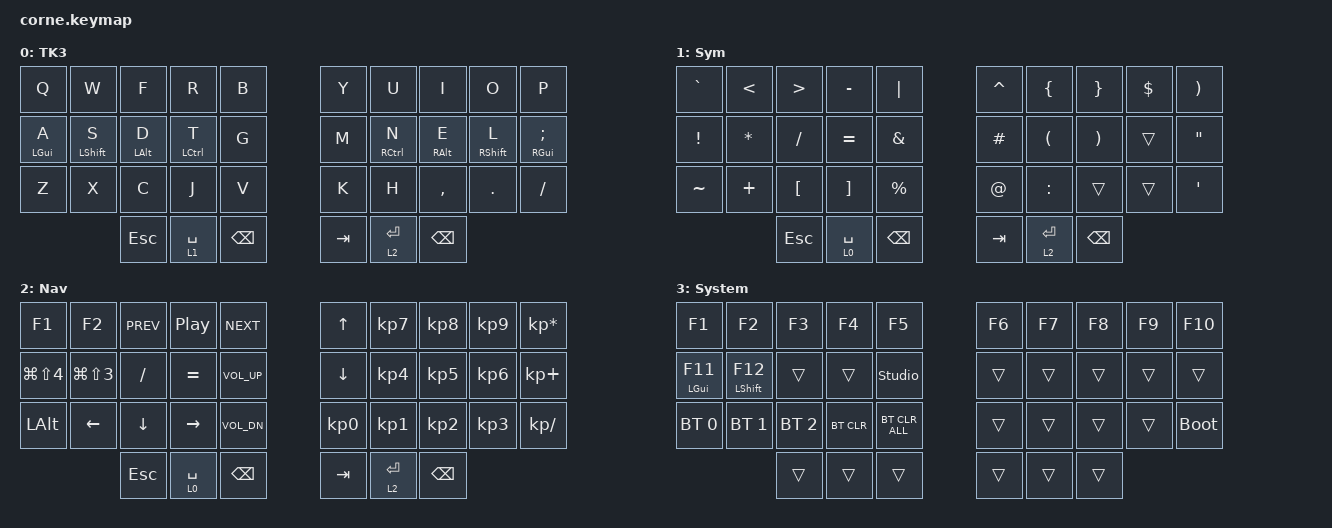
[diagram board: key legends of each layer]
#include <behaviors.dtsi>
#include <dt-bindings/zmk/bt.h>
#include <dt-bindings/zmk/keys.h>

#define DEF 0
#define SYM 1
#define NAV 2
#define ADJ 3

// short codes
#define ___      &trans      //  transparent

#define M_CAPW LG(LS(N3))         // Capture whole screen
#define M_CPYW LG(LS(LC(N3)))  // Copy whole screen
#define M_CAPP LG(LS(N4))         // Capture portion of screen
#define M_CPYP LG(LS(LC(N4)))  // Copy portion of screen

/ {
    chosen {
        zmk,physical-layout = &foostan_corne_5col_layout;
    };

    behaviors {
        hm: homerow_mods {
            compatible = "zmk,behavior-hold-tap";
            label = "HOMEROW_MODS";
            #binding-cells = <2>;
            tapping-term-ms = <200>;
            quick_tap_ms = <0>;
            flavor = "tap-preferred";
            bindings = <&kp>, <&kp>;

            quick-tap-ms = <180>;
            global-quick-tap;
        };

        para: para {
            compatible = "zmk,behavior-tap-dance";
            label = "PARA";
            #binding-cells = <0>;
            bindings = <&kp LEFT_PARENTHESIS>, <&kp RIGHT_PARENTHESIS>;
        };

        caps: caps {
            compatible = "zmk,behavior-caps-word";
            label = "CAPS";
            #binding-cells = <0>;
            continue-list = <MINUS BACKSPACE>;
        };

        paraless: paraless {
            compatible = "zmk,behavior-mod-morph";
            label = "PARALESS";
            bindings = <&kp LEFT_PARENTHESIS>, <&kp LESS_THAN>;

            #binding-cells = <0>;
            mods = <(MOD_LSFT)>;
        };

        paragreat: paragreat {
            compatible = "zmk,behavior-mod-morph";
            label = "PARAGREAT";
            bindings = <&kp RIGHT_PARENTHESIS>, <&kp GREATER_THAN>;

            #binding-cells = <0>;
            mods = <(MOD_LSFT)>;
        };
    };

    combos {
        compatible = "zmk,combos";

        escape {
            bindings = <&kp ESCAPE>;
            key-positions = <10 24>;
        };

        delete {
            bindings = <&kp DELETE>;
            key-positions = <12 18>;
        };

        perc {
            bindings = <&kp PERCENT>;
            key-positions = <4 14>;
        };

        equal {
            bindings = <&kp EQUAL>;
            key-positions = <23 13>;
        };

        dollar {
            bindings = <&kp DOLLAR>;
            key-positions = <3 13>;
        };

        pound {
            bindings = <&kp POUND>;
            key-positions = <2 12>;
        };

        at {
            bindings = <&kp AT>;
            key-positions = <1 11>;
        };

        backslash {
            bindings = <&kp BACKSLASH>;
            key-positions = <21 11>;
        };

        copy {
            bindings = <&kp K_COPY>;
            key-positions = <23 22>;
        };

        paste {
            bindings = <&kp K_PASTE>;
            key-positions = <21 22>;
        };

        star {
            bindings = <&kp STAR>;
            key-positions = <7 17>;
        };

        slash {
            bindings = <&kp SLASH>;
            key-positions = <27 17>;
        };

        plus {
            bindings = <&kp PLUS>;
            key-positions = <6 16>;
        };

        minus {
            bindings = <&kp KP_MINUS>;
            key-positions = <26 16>;
        };

        underscore {
            bindings = <&kp UNDER>;
            key-positions = <25 15>;
        };

        leftbrack {
            bindings = <&kp LEFT_BRACKET>;
            key-positions = <26 27>;
        };

        rightbrack {
            bindings = <&kp RIGHT_BRACKET>;
            key-positions = <28 27>;
        };

        para-less {
            bindings = <&paraless>;
            key-positions = <17 16>;
        };

        para-great {
            bindings = <&paragreat>;
            key-positions = <17 18>;
        };
    };

    //

    keymap {
        compatible = "zmk,keymap";

        DEF {
            display-name = "TK3";

            bindings = <
            //QWERTY
            // ╭─────────┬─────────┬─────────┬─────────┬─────────╮   ╭─────────┬─────────┬─────────┬─────────┬─────────╮
            // │    Q    │    W    │    E    │    R    │    T    │   │    Y    │    U    │    I    │    O    │    P    │
            //  &kp Q     &kp W     &kp E     &kp R     &kp T         &kp Y     &kp U     &kp I     &kp O     &kp P    
            // ├─────────┼─────────┼─────────┼─────────┼─────────┤   ├─────────┼─────────┼─────────┼─────────┼─────────┤
            // │    A    │    S    │    D    │    F    │    G    │   │    H    │    J    │    K    │    L    │    ;    │
            //  &hm LGUI A &hm LSHFT S &hm LALT D &hm LCTRL F &kp G   &kp H     &hm RCTRL J &hm RALT K &hm RSHFT L &hm RGUI SEMI 
            // ├─────────┼─────────┼─────────┼─────────┼─────────┤   ├─────────┼─────────┼─────────┼─────────┼─────────┤
            // │    Z    │    X    │    C    │    V    │    B    │   │    N    │    M    │   ,/;   │   ./:   │    /    │
            //  &kp Z     &kp X     &kp C     &kp V     &kp B         &kp N     &kp M     &kp COMMA &kp DOT   &kp FSLH 
            // ╰─────────┸─────────┼─────────┼─────────┼─────────┤   ├─────────┼─────────┼─────────┼─────────┸─────────╯
            //                     │    ⎋    │    ␣    │    ⌫    │   │    →    │    ↵    │    ⌫    │
            //                      &kp LGUI  &mo 1     &kp SPACE     &kp RET   &lt 2 TAB &kp BACKSPACE
            //                     ╰─────────────────────────────╯   ╰─────────────────────────────╯
            //  >;

            // TODO: Tarmak 3 update
            // TODO: Update visual representation
            // TODO: Use keyboard-drawer

            // ╭─────────┬─────────┬─────────┬─────────┬─────────╮   ╭─────────┬─────────┬─────────┬─────────┬─────────╮
            // │    Q    │    W    │    F    │    R    │    B    │   │    Y    │    U    │    I    │    O    │    P    │
            &kp Q     &kp W     &kp F     &kp R     &kp B         &kp Y     &kp U     &kp I     &kp O     &kp P
            // ├─────────┼─────────┼─────────┼─────────┼─────────┤   ├─────────┼─────────┼─────────┼─────────┼─────────┤
            // │    A    │    S    │    D    │    T    │    G    │   │    M    │    N    │    E    │    L    │    ;    │
            &hm LGUI A &hm LSHFT S &hm LALT D &hm LCTRL T &kp G   &kp M     &hm RCTRL N &hm RALT E &hm RSHFT L &hm RGUI SEMI
            // ├─────────┼─────────┼─────────┼─────────┼─────────┤   ├─────────┼─────────┼─────────┼─────────┼─────────┤
            // │    Z    │    X    │    C    │    J    │    V    │   │    K    │    H    │   ,/<   │   ./>   │    /:?    │
            &kp Z     &kp X     &kp C     &kp J     &kp V         &kp K     &kp H     &kp COMMA &kp DOT   &kp FSLH
            // ╰─────────┸─────────┼─────────┼─────────┼─────────┤   ├─────────┼─────────┼─────────┼─────────┸─────────╯
            //                     │    ⎋    │    ␣    │    ⌫    │   │    →    │    ↵    │    ⌫    │
                                    &kp ESC  &lt 1 SPACE &kp BACKSPACE &kp TAB   &lt 2 RET &kp BACKSPACE
            //                     ╰─────────────────────────────╯   ╰─────────────────────────────╯
            >;
        };

        SYM {
            // TODO: Homerow mods on symbols?

            display-name = "Sym";
            bindings = <
            // ╭─────────┬─────────┬─────────┬─────────┬─────────╮   ╭─────────┬─────────┬─────────┬─────────┬─────────╮
            // │    `    │    <    │    >    │    -    │    |    │   │    ^    │    {    │    }    │    $    │    →    │
            &kp GRAVE &kp LT    &kp GT    &kp MINUS &kp PIPE      &kp CARET &kp LBRC  &kp RBRC  &kp DLLR  &kp RPAR
            // ├─────────┼─────────┼─────────┼─────────┼─────────┤   ├─────────┼─────────┼─────────┼─────────┼─────────┤
            // │    !    │    *    │    /    │    =    │    &    │   │    #    │    (    │    )    │    ;    │    "    │
            &kp EXCL  &kp ASTRK &kp SLASH &kp EQUAL &kp AMPS      &kp HASH  &kp LPAR  &kp RPAR     ___    &kp DQT
            // ├─────────┼─────────┼─────────┼─────────┼─────────┤   ├─────────┼─────────┼─────────┼─────────┼─────────┤
            // │    ~    │    +    │    [    │    ]    │    %    │   │    @    │    :    │    ,    │    .    │    '    │
            &kp TILDE &kp PLUS  &kp LBKT  &kp RBKT  &kp PRCNT     &kp AT    &kp COLON   ___       ___     &kp SQT
            // ╰─────────┸─────────┼─────────┼─────────┼─────────┤   ├─────────┼─────────┼─────────┼─────────┸─────────╯
            //                     │    ⎋    │    ␣    │    ⌫    │   │    →    │    ↵    │    ⌫    │
                                    &kp ESC  &lt 0 SPACE &kp BACKSPACE &kp TAB   &lt 2 RET &kp BACKSPACE
            //                     ╰─────────────────────────────╯   ╰─────────────────────────────╯
            >;
        };

        NAV {
            // TODO: Mouse navigation? vs mouseless?
            // TODO: Adjust Numpad config
            // TODO: Scroll events

            display-name = "Nav";
            bindings = <
            // ╭─────────┬─────────┬─────────┬─────────┬─────────╮   ╭─────────┬─────────┬─────────┬─────────┬─────────╮
            // │    F1   │   F2    │    ⏮   │    ⏯    │   ⏭    │   │    ↑    │    7    │    8    │    9    │    *    │
            &kp F1    &kp F2    &kp C_PREV &kp C_PP  &kp C_NEXT   &kp UP    &kp KP_N7 &kp KP_N8 &kp KP_N9 &kp KP_MULTIPLY
            // ├─────────┼─────────┼─────────┼─────────┼─────────┤   ├─────────┼─────────┼─────────┼─────────┼─────────┤
            // │    ▭    │    ⌧    │    ↑    │    =    │   🔊    │   │    ↓    │    4    │    5    │    6    │    +    │
            &kp M_CAPP &kp M_CAPW &kp SLASH &kp EQUAL &kp C_VOL_UP &kp DOWN  &kp KP_N4 &kp KP_N5 &kp KP_N6 &kp KP_PLUS
            // ├─────────┼─────────┼─────────┼─────────┼─────────┤   ├─────────┼─────────┼─────────┼─────────┼─────────┤
            // │    ⌥    │    ←    │    ↓    │    →    │   🔈    │   │    0    │    1    │    2    │    3    │    /    │
            &kp LALT &kp LEFT  &kp DOWN  &kp RIGHT &kp C_VOL_DN   &kp KP_N0 &kp KP_N1 &kp KP_N2 &kp KP_N3 &kp KP_DIVIDE
            // ╰─────────┸─────────┼─────────┼─────────┼─────────┤   ├─────────┼─────────┼─────────┼─────────┸─────────╯
            //                     │    ⎋    │    ␣    │    ⌫    │   │    →    │    ↵    │    ⌫    │
                                    &kp ESC  &lt 0 SPACE &kp BACKSPACE &kp TAB   &lt 2 RET &kp BACKSPACE
            //                     ╰─────────┸─────────┸─────────╯   ╰─────────┸─────────┸─────────╯
            >;
        };

        ADJ {
            display-name = "System";
            bindings = <
            // ╭─────────┬─────────┬─────────┬─────────┬─────────╮   ╭─────────┬─────────┬─────────┬─────────┬─────────╮
            // │    F1   │    F2   │    F3   │    F4   │    F5   │   │    F6   │    F7   │    F8   │    F9   │    F10  │
            &kp F1    &kp F2    &kp F3    &kp F4    &kp F5        &kp F6    &kp F7    &kp F8    &kp F9    &kp F10
            // ├─────────┼─────────┼─────────┼─────────┼─────────┤   ├─────────┼─────────┼─────────┼─────────┼─────────┤
            // │    F11  │    F12  │         │         │    ↺    │   │         │         │         │         │         │
            &hm LGUI F11 &hm LSHFT F12 ___   ___    &studio_unlock   ___       ___       ___       ___       ___
            // ├─────────┼─────────┼─────────┼─────────┼─────────┤   ├─────────┼─────────┼─────────┼─────────┼─────────┤
            // │    0    │    1    │    2    │    ⊙    │    ☢    │   │         │         │         │         │    ∱    │
            &bt BT_SEL 0 &bt BT_SEL 1 &bt BT_SEL 2 &bt BT_CLR &bt BT_CLR_ALL ___ ___       ___       ___    &bootloader
            // ╰─────────┸─────────┼─────────┼─────────┼─────────┤   ├─────────┼─────────┼─────────┼─────────┸─────────╯
            //                     │         │         │         │   │         │         │         │
                                       ___       ___       ___           ___       ___       ___
            //                     ╰─────────────────────────────╯   ╰─────────────────────────────╯
            >;
        };
    };

    conditional_layers {
        compatible = "zmk,conditional-layers";

        l3 {
            if-layers = <1 2>;
            then-layer = <3>;
        };
    };
};
